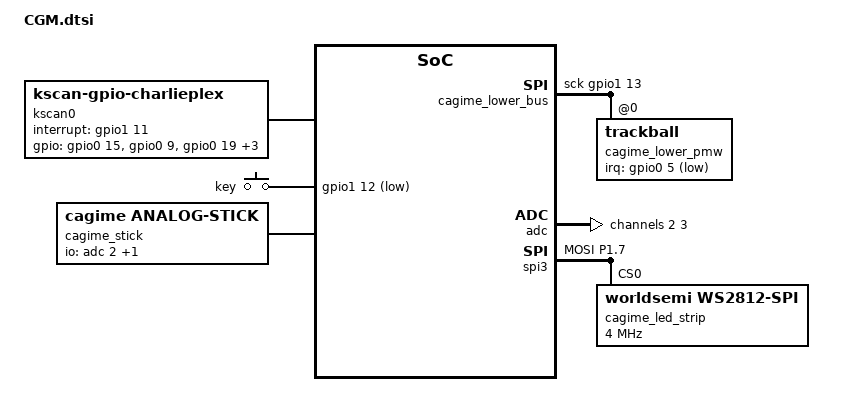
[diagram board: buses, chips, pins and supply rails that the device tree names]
#include <dt-bindings/led/led.h>
#include <zephyr/dt-bindings/input/input-event-codes.h>
#include <input/processors.dtsi>
#include <dt-bindings/zmk/input_transform.h>
#include <zephyr/dt-bindings/adc/nrf-saadc.h>
#include "cagime_layout.dtsi"

/ {
    lower_socket: lower-socket {
        compatible = "cagime,zeroshift-socket";
        matrix-row = <6>;
        matrix-column = <0>;
        sensor-index = <0>;
        trackball = <&cagime_lower_pmw>;
        encoder = <&cagime_lower_encoder>;
        push-key = <&cagime_lower_key>;
        optical-dial = <&cagime_lower_pat>;
        counts-per-revolution = <1892>;
        lpps-adc = <&cagime_lower_lpps_adc>;
        lpps-axes = <&cagime_lower_lpps_axes>;
        has-stick;
    };
    inner_socket: inner-socket {
        compatible = "cagime,zeroshift-socket";
        matrix-row = <6>;
        matrix-column = <1>;
        sensor-index = <2>;
    };

    chosen {
        zmk,physical-layout = &cagime_layout;
        /delete-property/ zmk,battery;
    };

    kscan0: kscan0 {
        compatible = "zmk,kscan-gpio-charlieplex";
        wakeup-source;
        interrupt-gpios = <&gpio1 11 GPIO_ACTIVE_HIGH>;
        /* U103 pads 15, 18, 16, 19, 17, 4 in PCB IO_0..IO_5 order. */
        gpios = <&gpio0 15 GPIO_ACTIVE_HIGH>,
                <&gpio0 9 GPIO_ACTIVE_HIGH>,
                <&gpio0 19 GPIO_ACTIVE_HIGH>,
                <&gpio0 10 GPIO_ACTIVE_HIGH>,
                <&gpio1 1 GPIO_ACTIVE_HIGH>,
                <&gpio0 29 GPIO_ACTIVE_HIGH>;
    };

    /* Deferred encoders report through the module driver using these stable ZMK sensor indexes. */
    left_encoder: left_encoder {
        compatible = "alps,ec11";
        status = "disabled";
    };

    right_encoder: right_encoder {
        compatible = "alps,ec11";
        status = "disabled";
    };

    left_inner_encoder: left_inner_encoder { status = "disabled"; };
    right_inner_encoder: right_inner_encoder { status = "disabled"; };

    sensors {
        compatible = "zmk,keymap-sensors";
        sensors = <&left_encoder &right_encoder &left_inner_encoder &right_inner_encoder>;
        triggers-per-rotation = <20>;
    };

    behaviors {
        cagime_led_test: cagime_led_test {
            compatible = "cagime,behavior-led-test";
            #binding-cells = <1>;
            strip = <&cagime_led_strip>;
            max-channel-value = <4>;
        };
    };
};

/* IO_1 and IO_3 share the NFC pins. */
&uicr { nfct-pins-as-gpios; };

&vbatt { status = "disabled"; };
/* Lower FPC pins 4 (X) and 3 (Y). This does not enable battery sensing. */
&adc {
    #address-cells = <1>;
    #size-cells = <0>;
    status = "okay";
    zephyr,deferred-init;

    channel@2 {
        reg = <2>;
        zephyr,input-positive = <NRF_SAADC_AIN2>;
        zephyr,gain = "ADC_GAIN_1_6";
        zephyr,reference = "ADC_REF_INTERNAL";
        zephyr,acquisition-time = <0>;
        zephyr,resolution = <12>;
    };

    channel@3 {
        reg = <3>;
        zephyr,input-positive = <NRF_SAADC_AIN3>;
        zephyr,gain = "ADC_GAIN_1_6";
        zephyr,reference = "ADC_REF_INTERNAL";
        zephyr,acquisition-time = <0>;
        zephyr,resolution = <12>;
    };
};
&i2c1 { status = "disabled"; };
#define CAGIME_LPPS_PSELS <NRF_PSEL(SPIM_SCK, 0, 4)>, <NRF_PSEL(SPIM_MOSI, 1, 12)>, <NRF_PSEL(SPIM_MISO, 1, 13)>
#define LPPS_BUS spi2
#define LPPS_DEFAULT cagime_lower_lpps_default
#define LPPS_SLEEP cagime_lower_lpps_sleep
#define LPPS_ADC cagime_lower_lpps_adc
#define LPPS_AXES cagime_lower_lpps_axes
#define LPPS_NODE lower-lpps-axes
#include "cagime_lpps_slot.dtsi"

#define PAT_BUS cagime_lower_pat_bus
#define PAT_NODE lower-pat-bus
#define PAT_SENSOR cagime_lower_pat
#define PAT_SCL <&gpio0 4 (GPIO_ACTIVE_HIGH | GPIO_OPEN_DRAIN)>
#define PAT_SDA <&gpio1 13 (GPIO_ACTIVE_HIGH | GPIO_OPEN_DRAIN)>
#define PAT_IRQ <&gpio0 5 (GPIO_ACTIVE_LOW | GPIO_PULL_UP)>
#include "cagime_pat_slot.dtsi"

&pwm0 { status = "disabled"; };

&pinctrl {
    cagime_led_default: cagime_led_default {
        group1 {
            psels = <NRF_PSEL(SPIM_MOSI, 1, 7)>;
        };
    };

    cagime_led_sleep: cagime_led_sleep {
        group1 {
            psels = <NRF_PSEL(SPIM_MOSI, 1, 7)>;
            low-power-enable;
            bias-pull-down;
        };
    };
};

&spi3 {
    status = "okay";
    pinctrl-0 = <&cagime_led_default>;
    pinctrl-1 = <&cagime_led_sleep>;
    pinctrl-names = "default", "sleep";

    cagime_led_strip: sk6812@0 {
        compatible = "worldsemi,ws2812-spi";
        reg = <0>;
        chain-length = <4>;
        color-mapping = <LED_COLOR_ID_GREEN LED_COLOR_ID_RED LED_COLOR_ID_BLUE>;
        /* 2 us symbol at 4 MHz, with 0.25/0.75 us high for 0/1. */
        spi-max-frequency = <4000000>;
        spi-zero-frame = <0x80>;
        spi-one-frame = <0xe0>;
        reset-delay = <100>;
    };
};

/ {
    cagime_lower_bus: fpc-lower-spi {
        #address-cells = <1>;
        #size-cells = <0>;
        #include "cagime_pmw3610_bus.dtsi"
        /* J4/J7 pads 1, 2 and 4. */
        cs-gpios = <&gpio1 12 GPIO_ACTIVE_LOW>;
        sck-gpios = <&gpio1 13 GPIO_ACTIVE_HIGH>;
        sdio-gpios = <&gpio0 4 GPIO_ACTIVE_HIGH>;

        cagime_lower_pmw: trackball@0 {
            #include "cagime_pmw3610.dtsi"
            irq-gpios = <&gpio0 5 (GPIO_ACTIVE_LOW | GPIO_PULL_UP)>;
        };
    };

    cagime_lower_encoder: lower-encoder {
        a-gpios = <&gpio1 12 (GPIO_ACTIVE_HIGH | GPIO_PULL_UP)>;
        b-gpios = <&gpio1 13 (GPIO_ACTIVE_HIGH | GPIO_PULL_UP)>;
        #include "cagime_encoder.dtsi"
    };

    cagime_lower_key: lower-key {
        compatible = "gpio-keys";
        zephyr,deferred-init;
        debounce-interval-ms = <7>;

        key {
            gpios = <&gpio1 12 (GPIO_ACTIVE_LOW | GPIO_PULL_UP)>;
            zephyr,code = <INPUT_KEY_1>;
        };
    };

    cagime_stick: lower-stick {
        compatible = "cagime,analog-stick";
        center-mv = <1600>;
        deadzone-mv = <88>;
        mv-per-step = <70>;
        sample-period-ms = <14>;
        io-channels = <&adc 2>, <&adc 3>;
    };

    split_inputs {
        #address-cells = <1>;
        #size-cells = <0>;

        cagime_right_lower_input: trackball@0 {
            compatible = "zmk,input-split";
            reg = <0>;
        };

        cagime_right_inner_input: trackball@1 {
            compatible = "zmk,input-split";
            reg = <1>;
        };

        cagime_right_lpps_input: lpps@2 {
            compatible = "zmk,input-split";
            reg = <2>;
        };

        cagime_right_lower_lpps_input: lpps@4 {
            compatible = "zmk,input-split";
            reg = <4>;
        };

        cagime_right_stick_input: stick@3 {
            compatible = "zmk,input-split";
            reg = <3>;
        };
    };
};

#define CIRQUE_BUS lower_cirque_bus
#define CIRQUE_SOCKET lower_socket
#define CIRQUE_DEVICE lower_cirque
#define CIRQUE_SDA <&gpio0 4 (GPIO_ACTIVE_HIGH | GPIO_OPEN_DRAIN)>
#define CIRQUE_SCL <&gpio0 5 (GPIO_ACTIVE_HIGH | GPIO_OPEN_DRAIN)>
#define CIRQUE_DR <&gpio1 13 GPIO_ACTIVE_HIGH>
#include "cirque_slot.dtsi"
/ { split_inputs { right_lower_pad: touchpad@5 { compatible = "zmk,input-split"; reg = <5>; }; }; };
/ { split_inputs { right_inner_pad: touchpad@6 { compatible = "zmk,input-split"; reg = <6>; }; }; };
